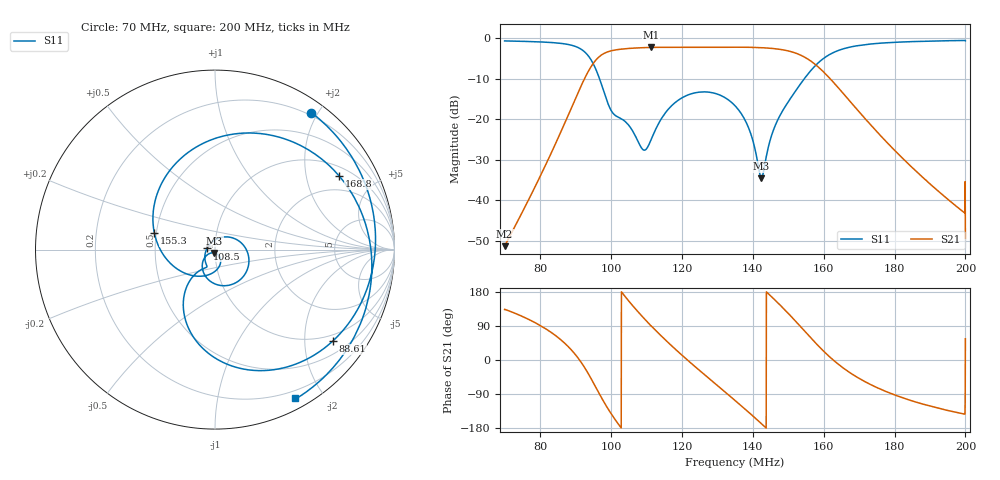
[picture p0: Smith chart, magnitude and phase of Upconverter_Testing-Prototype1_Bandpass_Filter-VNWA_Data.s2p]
! ListType=Lin
# MHZ S DB R 50
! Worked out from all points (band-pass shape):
!   2048 points, 70 MHz to 200 MHz, reference 50 ohm
!   highest |S21| = -2.12 dB at 111.3 MHz (marker M1); lowest = -51.4 dB at 70 MHz (marker M2)
!   |S21| within 3 dB of the highest: 95.97 MHz to 155.6 MHz (59.63 MHz wide, 47.4 % of centre)
!   lowest |S11| = -34.5 dB at 142.5 MHz (marker M3), VSWR 1.04, Z = 49.7 - j1.84 ohm
!   |S11| at or under -10 dB: 96.8 MHz to 154.5 MHz (57.72 MHz wide, 45.9 % of centre)
!   S12 and S22 are empty: the file has one direction only
!   S11 on the Smith chart (normalised r, x): 70 MHz: 0.16, +1.92; 88.61 MHz: 0.82, -2.70; 108.5 MHz: 0.91, +0.01; 155.3 MHz: 0.49, +0.10; 168.8 MHz: 1.34, +3.11; 200 MHz: 0.13, -1.67
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70  -0.60 54.8  -51.37 133.1  -3000.00 -90.0  -3000.00 -90.0
81.55838  -0.91 7.7  -31.31 82.6  -3000.00 -90.0  -3000.00 -90.0
88.60772  -1.61 -37.8  -17.64 28.9  -3000.00 -90.0  -3000.00 -90.0
91.71959  -2.73 -67.3  -11.47 -7.7  -3000.00 -90.0  -3000.00 -90.0
94.83146  -5.96 -103.6  -6.47 -56.1  -3000.00 -90.0  -3000.00 -90.0
98.19736  -13.67 -129.3  -3.63 -113.6  -3000.00 -90.0  -3000.00 -90.0
102.8969  -19.85 -116.5  -2.64 -179.3  -3000.00 -90.0  -3000.00 -90.0
108.4856  -26.89 171.5  -2.29 118.4  -3000.00 -90.0  -3000.00 -90.0
111.2799  -25.14 88.0  -2.12 90.0  -3000.00 -90.0  -3000.00 -90.0
113.3757  -21.14 53.5  -2.19 71.0  -3000.00 -90.0  -3000.00 -90.0
118.3293  -15.70 6.5  -2.18 27.1  -3000.00 -90.0  -3000.00 -90.0
123.0288  -13.59 -28.7  -2.20 -11.8  -3000.00 -90.0  -3000.00 -90.0
129.4431  -13.60 -74.3  -2.19 -62.8  -3000.00 -90.0  -3000.00 -90.0
135.0318  -16.66 -114.7  -2.16 -106.9  -3000.00 -90.0  -3000.00 -90.0
142.4621  -34.54 -99.7  -2.27 -168.1  -3000.00 -90.0  -3000.00 -90.0
149.8925  -15.83 -114.3  -3.05 124.3  -3000.00 -90.0  -3000.00 -90.0
155.2907  -9.11 164.7  -4.95 69.7  -3000.00 -90.0  -3000.00 -90.0
156.6878  -7.63 145.1  -5.77 55.4  -3000.00 -90.0  -3000.00 -90.0
162.34  -3.66 79.7  -10.42 3.0  -3000.00 -90.0  -3000.00 -90.0
168.8178  -1.89 30.7  -16.93 -41.8  -3000.00 -90.0  -3000.00 -90.0
178.3439  -1.03 -12.0  -26.14 -86.0  -3000.00 -90.0  -3000.00 -90.0
200  -0.58 -61.7  -49.43 55.9  -3000.00 -90.0  -3000.00 -90.0
